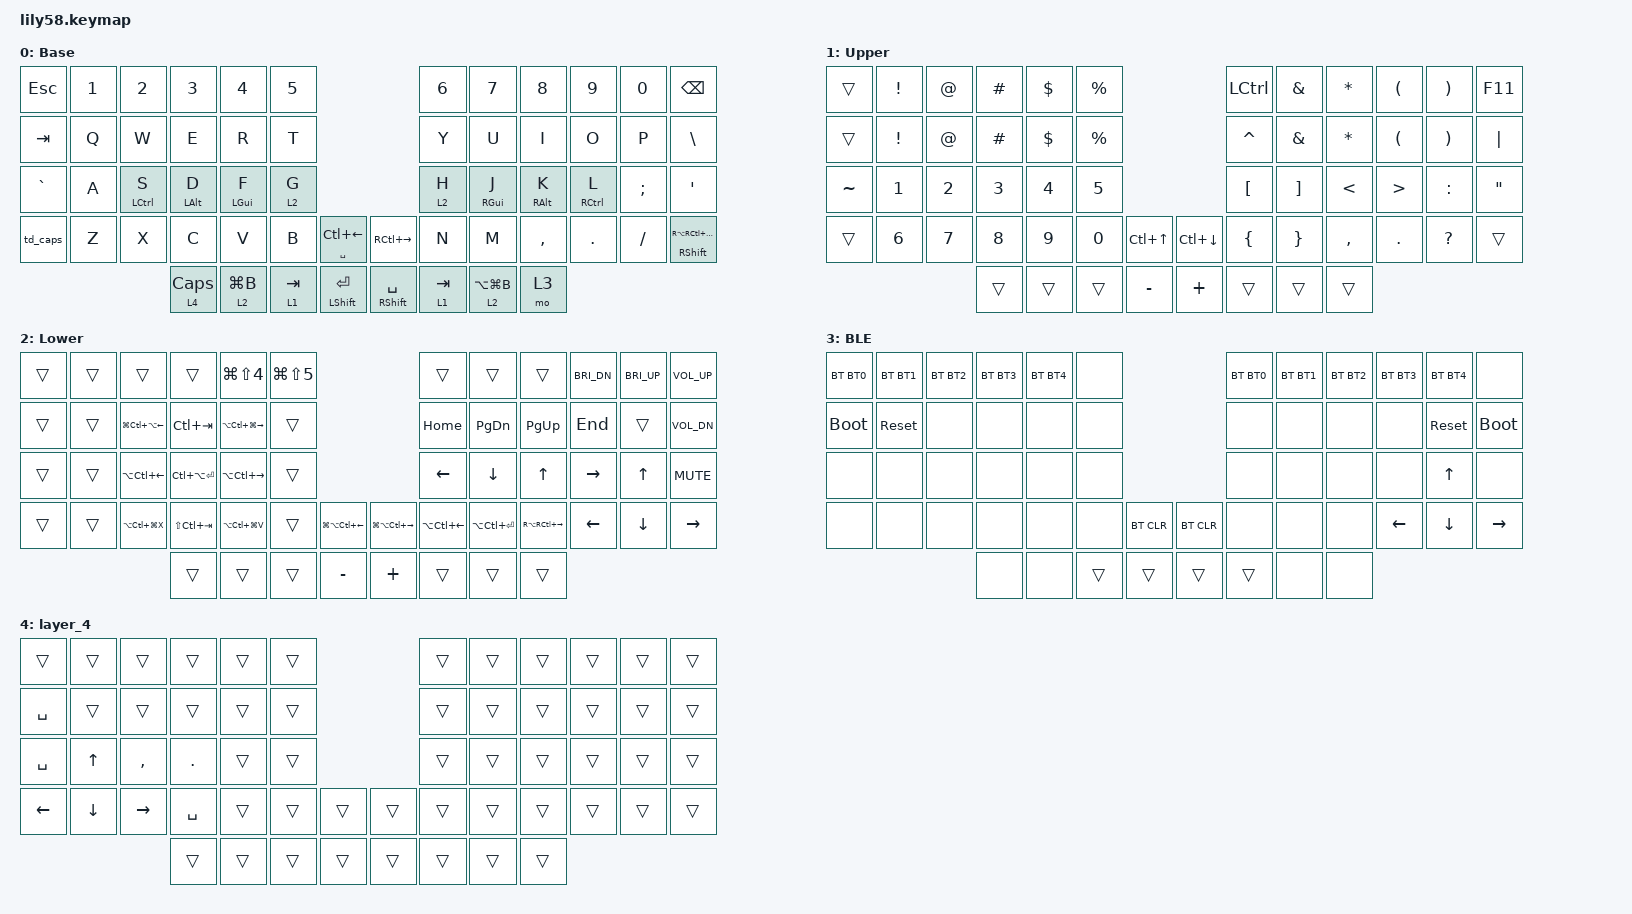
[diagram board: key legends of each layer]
/*
 * Copyright (c) 2020 The ZMK Contributors
 *
 * SPDX-License-Identifier: MIT
 */

#include <behaviors.dtsi>
#include <dt-bindings/zmk/bt.h>
#include <dt-bindings/zmk/keys.h>

#define BT0     BT_SEL 0
#define BT1     BT_SEL 1
#define BT2     BT_SEL 2
#define BT3     BT_SEL 3
#define BT4     BT_SEL 4

/ {
    macros {
        caps_macro: caps_macro {
            compatible = "zmk,behavior-macro";
            label = "caps_macro";
            #binding-cells = <0>;
            wait-ms = <30>;
            tap-ms = <200>;
            bindings = <&kp CAPS>;
        };
    };

    behaviors {
        hm: homerow_mods {
            compatible = "zmk,behavior-hold-tap";
            #binding-cells = <2>;
            require-prior-idle-ms = <125>;
            tapping-term-ms = <200>;
            quick-tap-ms = <200>;
            flavor = "tap-preferred";
            bindings = <&kp>, <&kp>;
        };

        td_caps: tap_dance_caps {
            compatible = "zmk,behavior-tap-dance";
            #binding-cells = <0>;
            tapping-term-ms = <200>;
            bindings = <&kp LSHIFT>, <&caps_macro>;
        };

        hl: homerow_layertap {
            compatible = "zmk,behavior-hold-tap";
            #binding-cells = <2>;
            require-prior-idle-ms = <125>;
            tapping-term-ms = <200>;
            quick-tap-ms = <200>;
            flavor = "tap-preferred";
            bindings = <&mo>, <&kp>;
        };

        ht: hold_tap {
            label = "hold_tap";
            compatible = "zmk,behavior-hold-tap";
            #binding-cells = <2>;
            flavor = "balanced";
            tapping-term-ms = <200>;
            quick-tap-ms = <200>;
            bindings = <&kp>, <&kp>;
        };
    };

    combos {
        compatible = "zmk,combos";

        cut {
            bindings = <&kp LG(X)>;
            key-positions = <38 37>;
        };

        copy {
            bindings = <&kp LG(C)>;
            key-positions = <38 39>;
        };

        paste {
            bindings = <&kp LG(V)>;
            key-positions = <39 40>;
        };

        clipboard_history {
            bindings = <&kp LG(LA(V))>;
            key-positions = <40 41>;
        };

        minus {
            bindings = <&kp MINUS>;
            key-positions = <45 46>;
        };

        equal {
            bindings = <&kp EQUAL>;
            key-positions = <46 47>;
        };

        underscore {
            bindings = <&kp UNDER>;
            key-positions = <19 20>;
        };

        plus {
            bindings = <&kp PLUS>;
            key-positions = <20 21>;
        };

        raycast {
            bindings = <&kp RG(RA(SPACE))>;
            key-positions = <31 32 33>;
        };

        screenshot {
            bindings = <&kp LS(LG(NUMBER_4))>;
            key-positions = <3 4>;
        };

        screenrecord {
            bindings = <&kp LS(LG(N5))>;
            key-positions = <4 5>;
        };

        left_bracket {
            bindings = <&kp LEFT_BRACKET>;
            key-positions = <30 31>;
        };

        right_bracket {
            bindings = <&kp RIGHT_BRACKET>;
            key-positions = <44 45>;
        };

        left_brace {
            bindings = <&kp LEFT_BRACE>;
            key-positions = <18 19>;
        };

        right_brace {
            bindings = <&kp RIGHT_BRACE>;
            key-positions = <6 7>;
        };

        Left_Brace_2 {
            bindings = <&kp LEFT_BRACE>;
            key-positions = <31 32>;
        };

        Right_Brace_2 {
            bindings = <&kp RIGHT_BRACE>;
            key-positions = <32 33>;
        };
    };

    keymap {
        compatible = "zmk,keymap";

        default_layer {
            display-name = "Base";
            bindings = <
&kp ESC    &kp N1  &kp N2       &kp N3          &kp N4       &kp N5                                             &kp N6     &kp N7           &kp N8      &kp N9       &kp N0    &kp BACKSPACE
&kp TAB    &kp Q   &kp W        &kp E           &kp R        &kp T                                              &kp Y      &kp U            &kp I       &kp O        &kp P     &kp BSLH
&kp GRAVE  &kp A   &hm LCTRL S  &hm LALT D      &hm LGUI F   &hl 2 G                                            &hl 2 H    &hm RGUI J       &hm RALT K  &hm RCTRL L  &kp SEMI  &kp SQT
&td_caps   &kp Z   &kp X        &kp C           &kp V        &kp B      &ht SPACE LC(LEFT)    &kp RC(RIGHT)     &kp N      &kp M            &kp COMMA   &kp DOT      &kp FSLH  &ht RSHFT RA(RC(RG(I)))
                                &lt 4 CAPSLOCK  &lt 2 LG(B)  &lt 1 TAB  &ht LSHIFT ENTER      &ht RSHIFT SPACE  &lt 1 TAB  &lt 2 LA(LG(B))  &mo 3
            >;
        };

        upper_layer {
            display-name = "Upper";
            bindings = <
&trans     &kp EXCLAMATION  &kp AT_SIGN  &kp HASH   &kp DOLLAR  &kp PERCENT                              &kp LCTRL  &kp AMPERSAND  &kp ASTERISK  &kp LEFT_PARENTHESIS  &kp RIGHT_PARENTHESIS  &kp F11
&trans     &kp EXCL         &kp AT       &kp POUND  &kp DOLLAR  &kp PERCENT                              &kp CARET  &kp AMPS       &kp STAR      &kp LPAR              &kp RPAR               &kp PIPE
&kp TILDE  &kp N1           &kp N2       &kp N3     &kp N4      &kp N5                                   &kp LBKT   &kp RBKT       &kp LT        &kp GREATER_THAN      &kp COLON              &kp DQT
&trans     &kp N6           &kp N7       &kp N8     &kp N9      &kp N0       &kp LC(UP)    &kp LC(DOWN)  &kp LBRC   &kp RBRC       &kp COMMA     &kp DOT               &kp QMARK              &trans
                                         &trans     &trans      &trans       &kp MINUS     &kp PLUS      &trans     &trans         &trans
            >;
        };

        lower_layer {
            display-name = "Lower";
            bindings = <
&trans  &trans  &trans                &trans             &kp LG(LS(N4))         &kp LG(LS(N5))                                                       &trans            &trans             &trans             &kp C_BRI_DN  &kp C_BRI_UP  &kp C_VOL_UP
&trans  &trans  &kp LG(LC(LA(LEFT)))  &kp LC(TAB)        &kp LA(LC(LG(RIGHT)))  &trans                                                               &kp HOME          &kp PG_DN          &kp PAGE_UP        &kp END       &trans        &kp C_VOL_DN
&trans  &trans  &kp LA(LC(LEFT))      &kp LC(LA(ENTER))  &kp LA(LC(RIGHT))      &trans                                                               &kp LEFT          &kp DOWN           &kp UP             &kp RIGHT     &kp UP        &kp C_MUTE
&trans  &trans  &kp LA(LC(LG(X)))     &kp LS(LC(TAB))    &kp LA(LC(LG(V)))      &trans          &kp LG(LA(LC(LEFT_ARROW)))    &kp LG(LA(LC(RIGHT)))  &kp LA(LC(LEFT))  &kp LA(LC(ENTER))  &kp RA(RC(RIGHT))  &kp LEFT      &kp DOWN      &kp RIGHT
                                      &trans             &trans                 &trans          &kp MINUS                     &kp PLUS               &trans            &trans             &trans
            >;
        };

        bt_layer {
            display-name = "BLE";
            bindings = <
&bt BT0      &bt BT1     &bt BT2  &bt BT3  &bt BT4  &none                             &bt BT0  &bt BT1  &bt BT2  &bt BT3   &bt BT4     &none
&bootloader  &sys_reset  &none    &none    &none    &none                             &none    &none    &none    &none     &sys_reset  &bootloader
&none        &none       &none    &none    &none    &none                             &none    &none    &none    &none     &kp UP      &none
&none        &none       &none    &none    &none    &none   &bt BT_CLR    &bt BT_CLR  &none    &none    &none    &kp LEFT  &kp DOWN    &kp RIGHT
                                  &none    &none    &trans  &trans        &trans      &trans   &none    &none
            >;
        };

        layer_4 {
            bindings = <
&trans     &trans    &trans     &trans      &trans  &trans                    &trans  &trans  &trans  &trans  &trans  &trans
&kp SPACE  &trans    &trans     &trans      &trans  &trans                    &trans  &trans  &trans  &trans  &trans  &trans
&kp SPACE  &kp UP    &kp COMMA  &kp PERIOD  &trans  &trans                    &trans  &trans  &trans  &trans  &trans  &trans
&kp LEFT   &kp DOWN  &kp RIGHT  &kp SPACE   &trans  &trans  &trans    &trans  &trans  &trans  &trans  &trans  &trans  &trans
                                &trans      &trans  &trans  &trans    &trans  &trans  &trans  &trans
            >;
        };
    };
};
